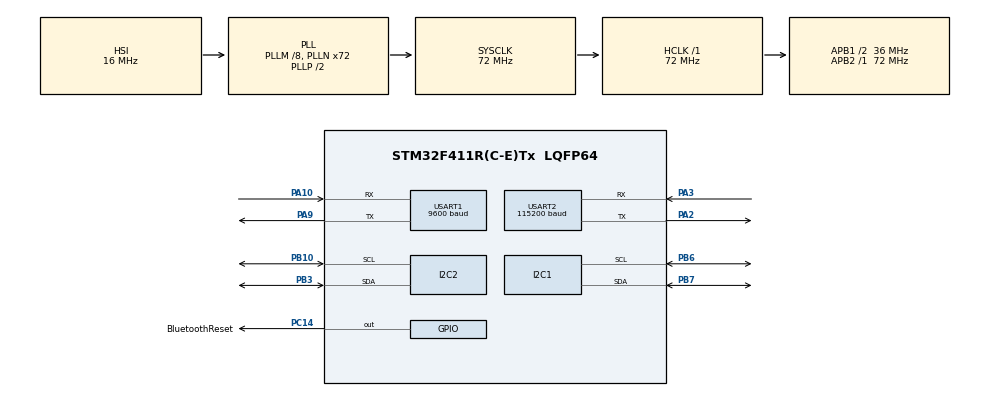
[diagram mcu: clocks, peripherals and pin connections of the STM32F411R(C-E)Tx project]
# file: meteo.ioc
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Mcu.Family=STM32F4
Mcu.Name=STM32F411R(C-E)Tx
Mcu.Package=LQFP64
NVIC.PriorityGroup=NVIC_PRIORITYGROUP_4
NVIC.TIM2_IRQn=true\:0\:0\:false\:false\:true\:true\:true\:true
NVIC.USART1_IRQn=true\:0\:0\:false\:false\:true\:true\:true\:true
NVIC.USART2_IRQn=true\:0\:0\:false\:false\:true\:true\:true\:true
PA10.Mode=Asynchronous
PA10.Signal=USART1_RX
PA2.Mode=Asynchronous
PA2.Signal=USART2_TX
PA3.Mode=Asynchronous
PA3.Signal=USART2_RX
PA9.Mode=Asynchronous
PA9.Signal=USART1_TX
PB10.GPIO_Pu=GPIO_PULLUP
PB10.Mode=I2C
PB10.Signal=I2C2_SCL
PB3.GPIO_Pu=GPIO_PULLUP
PB3.Mode=I2C
PB3.Signal=I2C2_SDA
PB6.Mode=I2C
PB6.Signal=I2C1_SCL
PB7.Mode=I2C
PB7.Signal=I2C1_SDA
PC14-OSC32_IN.GPIO_Label=BluetoothReset
PC14-OSC32_IN.Signal=GPIO_Output
PH0\ -\ OSC_IN.Mode=HSE-External-Oscillator
PH0\ -\ OSC_IN.Signal=RCC_OSC_IN
PH1\ -\ OSC_OUT.Mode=HSE-External-Oscillator
PH1\ -\ OSC_OUT.Signal=RCC_OSC_OUT
ProjectManager.HeapSize=0x200
ProjectManager.StackSize=0x400
ProjectManager.TargetToolchain=STM32CubeIDE
RCC.48MHZClocksFreq_Value=36000000
RCC.AHBFreq_Value=72000000
RCC.APB1CLKDivider=RCC_HCLK_DIV2
RCC.APB1Freq_Value=36000000
RCC.APB1TimFreq_Value=72000000
RCC.APB2Freq_Value=72000000
RCC.APB2TimFreq_Value=72000000
RCC.CortexFreq_Value=72000000
RCC.HCLKFreq_Value=72000000
RCC.HSE_VALUE=25000000
RCC.HSI_VALUE=16000000
RCC.LSE_VALUE=32768
RCC.PLLM=8
RCC.PLLN=72
RCC.SYSCLKFreq_VALUE=72000000
RCC.SYSCLKSource=RCC_SYSCLKSOURCE_PLLCLK
RCC.VCOOutputFreq_Value=144000000
TIM2.Period=1999
TIM2.Prescaler=720
USART1.BaudRate=9600
USART1.VirtualMode=VM_ASYNC
USART2.BaudRate=115200
USART2.VirtualMode=VM_ASYNC
VP_TIM2_VS_ClockSourceINT.Mode=Internal
board=custom

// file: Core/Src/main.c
/* USER CODE BEGIN Header */
/**
  ******************************************************************************
  * @file           : main.c
  * @brief          : Main program body
  ******************************************************************************
  * @attention
  *
  * Copyright (c) 2022 STMicroelectronics.
  * All rights reserved.
  *
  * This software is licensed under terms that can be found in the LICENSE file
  * in the root directory of this software component.
  * If no LICENSE file comes with this software, it is provided AS-IS.
  *
  ******************************************************************************
  */
/* USER CODE END Header */
#include "main.h"

/* USER CODE BEGIN Includes */
#include <stdio.h>
#include <string.h>
#include <BMPXX80.h>
#include <am2320.h>
/* USER CODE END Includes */

/* USER CODE BEGIN PD */
#define BMP280
#define BMP_SPI 0
#define BMP_I2C 1
/* USER CODE END PD */

 I2C_HandleTypeDef hi2c1;
I2C_HandleTypeDef hi2c2;

TIM_HandleTypeDef htim2;

UART_HandleTypeDef huart1;
UART_HandleTypeDef huart2;

/* USER CODE BEGIN PV */
int32_t cisnienie;
float temperatura_BMP;
float temperatura_AM;
float wilgotnosc;

/* USER CODE END PV */

void SystemClock_Config(void);
static void MX_GPIO_Init(void);
static void MX_USART2_UART_Init(void);
static void MX_I2C1_Init(void);
static void MX_I2C2_Init(void);
static void MX_TIM2_Init(void);
static void MX_USART1_UART_Init(void);

/* USER CODE BEGIN 0 */
//Przekierowanie funkcji printf() z wykorzystaniem interfejsu UART
int _write(int file, char *ptr, int len){
	HAL_UART_Transmit(&huart2,ptr,len,50);
	return len;
}

void sendString(char* s)
{
	HAL_UART_Transmit_IT(&huart1, (uint8_t*)s, strlen(s));
}

/* USER CODE END 0 */

int main(void)
{

  /* MCU Configuration--------------------------------------------------------*/

  /* Reset of all peripherals, Initializes the Flash interface and the Systick. */
  HAL_Init();

  /* Configure the system clock */
  SystemClock_Config();

  /* Initialize all configured peripherals */
  MX_GPIO_Init();
  MX_USART2_UART_Init();
  MX_I2C1_Init();
  MX_I2C2_Init();
  MX_TIM2_Init();
  MX_USART1_UART_Init();
  /* USER CODE BEGIN 2 */
  HAL_Delay(200);
  HAL_GPIO_WritePin(BluetoothReset_GPIO_Port, BluetoothReset_Pin,SET);
  HAL_Delay(1000);

  //memset(buffer,0,sizeof(buffer));
  HAL_TIM_Base_Start_IT(&htim2);
  __HAL_UART_ENABLE_IT(&huart2, UART_IT_RXNE);

  BMP280_Init(&hi2c1, BMP280_TEMPERATURE_16BIT, BMP280_ULTRAHIGHRES, BMP280_FORCEDMODE);
  Am2320_HandleTypeDef Am2320_;
  Am2320_ = am2320_Init(&hi2c2, 0x5C << 1);
  void sendString(char* s);

  /* USER CODE END 2 */

  /* Infinite loop */
  while (1)
  {

    /* USER CODE BEGIN 3 */

	  HAL_GPIO_WritePin(GPIOC, BMP_I2C, 1);
	  BMP280_ReadTemperatureAndPressure(&temperatura_BMP, &cisnienie);
	  HAL_GPIO_WritePin(GPIOC, BMP_I2C, 0);
	  am2320_GetTemperatureAndHumidity(&Am2320_, &temperatura_AM, &wilgotnosc);
	  HAL_Delay(500);

	  int testv = 57;

	  char arTemp[10];
	  char arCisn[10];
	  char arWilg[10];

	  char arData[40];

	  sprintf(arTemp, "%d", (int)(temperatura_BMP*1000));
	  sprintf(arCisn, "%d", (int)cisnienie);
	  sprintf(arWilg, "%d", (int)(wilgotnosc*1000));

	  sprintf(arData, "%s:%s:%s:", arTemp, arCisn, arWilg);

	  sendString(arData);
	  HAL_Delay(500);

	  printf("\r\n===============\r\n");
	  printf("Cisnienie --> %d Pa\r\n", cisnienie);
	  printf("Temperatura BMP --> %f oC\r\n", temperatura_BMP);
	  printf("Temperatura AM --> %f oC\r\n", temperatura_AM);
	  printf("Wilgotnosc --> %f%%\r\n", wilgotnosc);
	  printf("arData --> %s\r\n", arData);

	  HAL_Delay(250);

  }
  /* USER CODE END 3 */
}

void SystemClock_Config(void)
{
  RCC_OscInitTypeDef RCC_OscInitStruct = {0};
  RCC_ClkInitTypeDef RCC_ClkInitStruct = {0};

  /** Configure the main internal regulator output voltage
  */
  __HAL_RCC_PWR_CLK_ENABLE();
  __HAL_PWR_VOLTAGESCALING_CONFIG(PWR_REGULATOR_VOLTAGE_SCALE1);

  /** Initializes the RCC Oscillators according to the specified parameters
  * in the RCC_OscInitTypeDef structure.
  */
  RCC_OscInitStruct.OscillatorType = RCC_OSCILLATORTYPE_HSI;
  RCC_OscInitStruct.HSIState = RCC_HSI_ON;
  RCC_OscInitStruct.HSICalibrationValue = RCC_HSICALIBRATION_DEFAULT;
  RCC_OscInitStruct.PLL.PLLState = RCC_PLL_ON;
  RCC_OscInitStruct.PLL.PLLSource = RCC_PLLSOURCE_HSI;
  RCC_OscInitStruct.PLL.PLLM = 8;
  RCC_OscInitStruct.PLL.PLLN = 72;
  RCC_OscInitStruct.PLL.PLLP = RCC_PLLP_DIV2;
  RCC_OscInitStruct.PLL.PLLQ = 4;
  if (HAL_RCC_OscConfig(&RCC_OscInitStruct) != HAL_OK)
  {
    Error_Handler();
  }

  /** Initializes the CPU, AHB and APB buses clocks
  */
  RCC_ClkInitStruct.ClockType = RCC_CLOCKTYPE_HCLK|RCC_CLOCKTYPE_SYSCLK
                              |RCC_CLOCKTYPE_PCLK1|RCC_CLOCKTYPE_PCLK2;
  RCC_ClkInitStruct.SYSCLKSource = RCC_SYSCLKSOURCE_PLLCLK;
  RCC_ClkInitStruct.AHBCLKDivider = RCC_SYSCLK_DIV1;
  RCC_ClkInitStruct.APB1CLKDivider = RCC_HCLK_DIV2;
  RCC_ClkInitStruct.APB2CLKDivider = RCC_HCLK_DIV1;

  if (HAL_RCC_ClockConfig(&RCC_ClkInitStruct, FLASH_LATENCY_2) != HAL_OK)
  {
    Error_Handler();
  }
}

static void MX_I2C1_Init(void)
{

  hi2c1.Instance = I2C1;
  hi2c1.Init.ClockSpeed = 100000;
  hi2c1.Init.DutyCycle = I2C_DUTYCYCLE_2;
  hi2c1.Init.OwnAddress1 = 0;
  hi2c1.Init.AddressingMode = I2C_ADDRESSINGMODE_7BIT;
  hi2c1.Init.DualAddressMode = I2C_DUALADDRESS_DISABLE;
  hi2c1.Init.OwnAddress2 = 0;
  hi2c1.Init.GeneralCallMode = I2C_GENERALCALL_DISABLE;
  hi2c1.Init.NoStretchMode = I2C_NOSTRETCH_DISABLE;
  if (HAL_I2C_Init(&hi2c1) != HAL_OK)
  {
    Error_Handler();
  }

}

static void MX_I2C2_Init(void)
{

  hi2c2.Instance = I2C2;
  hi2c2.Init.ClockSpeed = 100000;
  hi2c2.Init.DutyCycle = I2C_DUTYCYCLE_2;
  hi2c2.Init.OwnAddress1 = 0;
  hi2c2.Init.AddressingMode = I2C_ADDRESSINGMODE_7BIT;
  hi2c2.Init.DualAddressMode = I2C_DUALADDRESS_DISABLE;
  hi2c2.Init.OwnAddress2 = 0;
  hi2c2.Init.GeneralCallMode = I2C_GENERALCALL_DISABLE;
  hi2c2.Init.NoStretchMode = I2C_NOSTRETCH_DISABLE;
  if (HAL_I2C_Init(&hi2c2) != HAL_OK)
  {
    Error_Handler();
  }

}

static void MX_TIM2_Init(void)
{

  TIM_ClockConfigTypeDef sClockSourceConfig = {0};
  TIM_MasterConfigTypeDef sMasterConfig = {0};

  htim2.Instance = TIM2;
  htim2.Init.Prescaler = 720;
  htim2.Init.CounterMode = TIM_COUNTERMODE_UP;
  htim2.Init.Period = 1999;
  htim2.Init.ClockDivision = TIM_CLOCKDIVISION_DIV1;
  htim2.Init.AutoReloadPreload = TIM_AUTORELOAD_PRELOAD_DISABLE;
  if (HAL_TIM_Base_Init(&htim2) != HAL_OK)
  {
    Error_Handler();
  }
  sClockSourceConfig.ClockSource = TIM_CLOCKSOURCE_INTERNAL;
  if (HAL_TIM_ConfigClockSource(&htim2, &sClockSourceConfig) != HAL_OK)
  {
    Error_Handler();
  }
  sMasterConfig.MasterOutputTrigger = TIM_TRGO_RESET;
  sMasterConfig.MasterSlaveMode = TIM_MASTERSLAVEMODE_DISABLE;
  if (HAL_TIMEx_MasterConfigSynchronization(&htim2, &sMasterConfig) != HAL_OK)
  {
    Error_Handler();
  }

}

static void MX_USART1_UART_Init(void)
{

  huart1.Instance = USART1;
  huart1.Init.BaudRate = 9600;
  huart1.Init.WordLength = UART_WORDLENGTH_8B;
  huart1.Init.StopBits = UART_STOPBITS_1;
  huart1.Init.Parity = UART_PARITY_NONE;
  huart1.Init.Mode = UART_MODE_TX_RX;
  huart1.Init.HwFlowCtl = UART_HWCONTROL_NONE;
  huart1.Init.OverSampling = UART_OVERSAMPLING_16;
  if (HAL_UART_Init(&huart1) != HAL_OK)
  {
    Error_Handler();
  }

}

static void MX_USART2_UART_Init(void)
{

  huart2.Instance = USART2;
  huart2.Init.BaudRate = 115200;
  huart2.Init.WordLength = UART_WORDLENGTH_8B;
  huart2.Init.StopBits = UART_STOPBITS_1;
  huart2.Init.Parity = UART_PARITY_NONE;
  huart2.Init.Mode = UART_MODE_TX_RX;
  huart2.Init.HwFlowCtl = UART_HWCONTROL_NONE;
  huart2.Init.OverSampling = UART_OVERSAMPLING_16;
  if (HAL_UART_Init(&huart2) != HAL_OK)
  {
    Error_Handler();
  }

}

static void MX_GPIO_Init(void)
{
  GPIO_InitTypeDef GPIO_InitStruct = {0};

  /* GPIO Ports Clock Enable */
  __HAL_RCC_GPIOC_CLK_ENABLE();
  __HAL_RCC_GPIOH_CLK_ENABLE();
  __HAL_RCC_GPIOA_CLK_ENABLE();
  __HAL_RCC_GPIOB_CLK_ENABLE();

  /*Configure GPIO pin Output Level */
  HAL_GPIO_WritePin(BluetoothReset_GPIO_Port, BluetoothReset_Pin, GPIO_PIN_RESET);

  /*Configure GPIO pin : BluetoothReset_Pin */
  GPIO_InitStruct.Pin = BluetoothReset_Pin;
  GPIO_InitStruct.Mode = GPIO_MODE_OUTPUT_PP;
  GPIO_InitStruct.Pull = GPIO_NOPULL;
  GPIO_InitStruct.Speed = GPIO_SPEED_FREQ_LOW;
  HAL_GPIO_Init(BluetoothReset_GPIO_Port, &GPIO_InitStruct);

}

void Error_Handler(void)
{
  __disable_irq();
  while (1)
  {
  }
}
